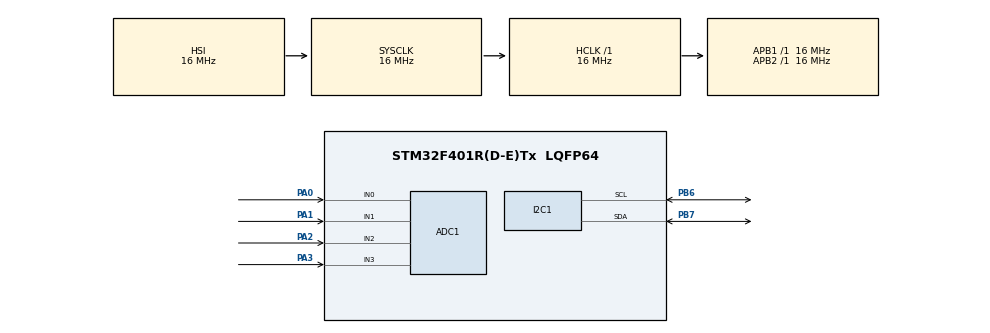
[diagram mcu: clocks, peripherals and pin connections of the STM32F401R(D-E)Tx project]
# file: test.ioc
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ADC1.Channel-0\#ChannelRegularConversion=ADC_CHANNEL_0
ADC1.ContinuousConvMode=ENABLE
ADC1.NbrOfConversionFlag=1
ADC1.Rank-0\#ChannelRegularConversion=1
ADC1.SamplingTime-0\#ChannelRegularConversion=ADC_SAMPLETIME_144CYCLES
ADC1.master=1
I2C1.I2C_Mode=I2C_Fast
Mcu.Family=STM32F4
Mcu.Name=STM32F401R(D-E)Tx
Mcu.Package=LQFP64
NVIC.ADC_IRQn=true\:0\:0\:false\:false\:true\:true\:true\:true
NVIC.I2C1_ER_IRQn=true\:0\:0\:false\:false\:true\:true\:true\:true
NVIC.I2C1_EV_IRQn=true\:0\:0\:false\:false\:true\:true\:true\:true
NVIC.PriorityGroup=NVIC_PRIORITYGROUP_4
PA0-WKUP.Signal=ADCx_IN0
PA1.Signal=ADCx_IN1
PA2.Signal=ADCx_IN2
PA3.Signal=ADCx_IN3
PB6.Mode=I2C
PB6.Signal=I2C1_SCL
PB7.Mode=I2C
PB7.Signal=I2C1_SDA
ProjectManager.HeapSize=0x200
ProjectManager.StackSize=0x400
ProjectManager.TargetToolchain=STM32CubeIDE
RCC.AHBFreq_Value=16000000
RCC.APB1Freq_Value=16000000
RCC.APB2Freq_Value=16000000
RCC.CortexFreq_Value=16000000
RCC.HSE_VALUE=25000000
RCC.HSI_VALUE=16000000
RCC.LSE_VALUE=32768
RCC.SYSCLKFreq_VALUE=16000000
RCC.VCOOutputFreq_Value=192000000
SH.ADCx_IN0.0=ADC1_IN0,IN0
SH.ADCx_IN1.0=ADC1_IN1,IN1
SH.ADCx_IN2.0=ADC1_IN2,IN2
SH.ADCx_IN3.0=ADC1_IN3,IN3
board=custom

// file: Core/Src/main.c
/* USER CODE BEGIN Header */
/**
  ******************************************************************************
  * @file           : main.c
  * @brief          : Main program body
  ******************************************************************************
  * @attention
  *
  * Copyright (c) 2024 STMicroelectronics.
  * All rights reserved.
  *
  * This software is licensed under terms that can be found in the LICENSE file
  * in the root directory of this software component.
  * If no LICENSE file comes with this software, it is provided AS-IS.
  *
  ******************************************************************************
  */
/* USER CODE END Header */
#include "main.h"

/* USER CODE BEGIN PD */
#define MPU6050_ADDR 0x68

#define IMU_SENSOR1_ADDR 0x68  // 예: MPU6050
#define IMU_SENSOR2_ADDR 0x69
#define IMU_SENSOR3_ADDR 0x6A
#define NUM_SENSORS 4
uint32_t pressure_values[NUM_SENSORS] = {0};
/* USER CODE END PD */

/* USER CODE BEGIN PM */
unsigned char IMUarray[32] = {0};
int cnt0 = 0, cnt1 = 0, cnt2 = 0, cnt3 = 0, cnt4 = 0;
char alpha[8] = {0};
char beta[8] = {0};
char gamm[8] = {0};
double roll_tp, pitch_tp, yaw_tp;
double roll, pitch, yaw;
char *pos;
int16_t accel[3] = {0};
int16_t gyro[3] = {0};
int32_t pressure = 0;
/* USER CODE END PM */

ADC_HandleTypeDef hadc1;

I2C_HandleTypeDef hi2c1;

/* USER CODE BEGIN PV */
//void MPU6050_Init(uint8_t sensor_addr);
void Read_IMU_Date(uint8_t sensor_addr, int16_t *accel_data, int16_t *gyro_data);
void Read_Pressure_Sensors(uint32_t *values, uint8_t num_sensors);
void parse_IMU_data(void);

//void get_pitch(void);
//void Read_IMU_RPY(void);
/* USER CODE END PV */

void SystemClock_Config(void);
static void MX_GPIO_Init(void);
static void MX_I2C1_Init(void);
static void MX_ADC1_Init(void);

int main(void)
{

  /* MCU Configuration--------------------------------------------------------*/

  /* Reset of all peripherals, Initializes the Flash interface and the Systick. */
  HAL_Init();

  /* Configure the system clock */
  SystemClock_Config();

  /* Initialize all configured peripherals */
  MX_GPIO_Init();
  MX_I2C1_Init();
  MX_ADC1_Init();
  /* USER CODE BEGIN 2 */
  // 센서 초기화 단계
  /*MPU6050_Init(); //초기화
  BMP280_Init(); //초기화
  */
  MPU6050_Init(IMU_SENSOR1_ADDR);
  MPU6050_Init(IMU_SENSOR2_ADDR);
  MPU6050_Init(IMU_SENSOR3_ADDR);

  /* USER CODE END 2 */

  /* Infinite loop */
  /* USER CODE BEGIN WHILE */

  while (1)
  {
	  // IMU 데이터 읽기
	  Read_IMU_Data(IMU_SENSOR1_ADDR, accel, gyro);
	  parse_IMU_data();

	  // 압력센서 데이터 읽기
	  Read_Pressure_Sensors(pressure_values, NUM_SENSORS);

	  HAL_Delay(500);
    /* USER CODE END WHILE */

  }
}

void SystemClock_Config(void)
{
  RCC_OscInitTypeDef RCC_OscInitStruct = {0};
  RCC_ClkInitTypeDef RCC_ClkInitStruct = {0};

  /** Configure the main internal regulator output voltage
  */
  __HAL_RCC_PWR_CLK_ENABLE();
  __HAL_PWR_VOLTAGESCALING_CONFIG(PWR_REGULATOR_VOLTAGE_SCALE2);

  /** Initializes the RCC Oscillators according to the specified parameters
  * in the RCC_OscInitTypeDef structure.
  */
  RCC_OscInitStruct.OscillatorType = RCC_OSCILLATORTYPE_HSI;
  RCC_OscInitStruct.HSIState = RCC_HSI_ON;
  RCC_OscInitStruct.HSICalibrationValue = RCC_HSICALIBRATION_DEFAULT;
  RCC_OscInitStruct.PLL.PLLState = RCC_PLL_NONE;
  if (HAL_RCC_OscConfig(&RCC_OscInitStruct) != HAL_OK)
  {
    Error_Handler();
  }

  /** Initializes the CPU, AHB and APB buses clocks
  */
  RCC_ClkInitStruct.ClockType = RCC_CLOCKTYPE_HCLK|RCC_CLOCKTYPE_SYSCLK
                              |RCC_CLOCKTYPE_PCLK1|RCC_CLOCKTYPE_PCLK2;
  RCC_ClkInitStruct.SYSCLKSource = RCC_SYSCLKSOURCE_HSI;
  RCC_ClkInitStruct.AHBCLKDivider = RCC_SYSCLK_DIV1;
  RCC_ClkInitStruct.APB1CLKDivider = RCC_HCLK_DIV1;
  RCC_ClkInitStruct.APB2CLKDivider = RCC_HCLK_DIV1;

  if (HAL_RCC_ClockConfig(&RCC_ClkInitStruct, FLASH_LATENCY_0) != HAL_OK)
  {
    Error_Handler();
  }
}

static void MX_ADC1_Init(void)
{

  ADC_ChannelConfTypeDef sConfig = {0};

  /** Configure the global features of the ADC (Clock, Resolution, Data Alignment and number of conversion)
  */
  hadc1.Instance = ADC1;
  hadc1.Init.ClockPrescaler = ADC_CLOCK_SYNC_PCLK_DIV2;
  hadc1.Init.Resolution = ADC_RESOLUTION_12B;
  hadc1.Init.ScanConvMode = DISABLE;
  hadc1.Init.ContinuousConvMode = ENABLE;
  hadc1.Init.DiscontinuousConvMode = DISABLE;
  hadc1.Init.ExternalTrigConvEdge = ADC_EXTERNALTRIGCONVEDGE_NONE;
  hadc1.Init.ExternalTrigConv = ADC_SOFTWARE_START;
  hadc1.Init.DataAlign = ADC_DATAALIGN_RIGHT;
  hadc1.Init.NbrOfConversion = 1;
  hadc1.Init.DMAContinuousRequests = DISABLE;
  hadc1.Init.EOCSelection = ADC_EOC_SINGLE_CONV;
  if (HAL_ADC_Init(&hadc1) != HAL_OK)
  {
    Error_Handler();
  }

  /** Configure for the selected ADC regular channel its corresponding rank in the sequencer and its sample time.
  */
  sConfig.Channel = ADC_CHANNEL_0;
  sConfig.Rank = 1;
  sConfig.SamplingTime = ADC_SAMPLETIME_144CYCLES;
  if (HAL_ADC_ConfigChannel(&hadc1, &sConfig) != HAL_OK)
  {
    Error_Handler();
  }
  /* USER CODE BEGIN ADC1_Init 2 */
  for (int i = 0; i < NUM_SENSORS; i++) {
      sConfig.Channel = ADC_CHANNEL_0 + i; // FSR 센서가 연결된 채널
      sConfig.Rank = i + 1; // 각 채널의 순위 설정
      sConfig.SamplingTime = ADC_SAMPLETIME_15CYCLES; // 샘플링 시간 설정
      HAL_ADC_ConfigChannel(&hadc1, &sConfig); // 채널 설정
  }
  /* USER CODE END ADC1_Init 2 */

}

static void MX_I2C1_Init(void)
{

  hi2c1.Instance = I2C1;
  hi2c1.Init.ClockSpeed = 400000;
  hi2c1.Init.DutyCycle = I2C_DUTYCYCLE_2;
  hi2c1.Init.OwnAddress1 = 0;
  hi2c1.Init.AddressingMode = I2C_ADDRESSINGMODE_7BIT;
  hi2c1.Init.DualAddressMode = I2C_DUALADDRESS_DISABLE;
  hi2c1.Init.OwnAddress2 = 0;
  hi2c1.Init.GeneralCallMode = I2C_GENERALCALL_DISABLE;
  hi2c1.Init.NoStretchMode = I2C_NOSTRETCH_DISABLE;
  if (HAL_I2C_Init(&hi2c1) != HAL_OK)
  {
    Error_Handler();
  }

}

static void MX_GPIO_Init(void)
{

  /* GPIO Ports Clock Enable */
  __HAL_RCC_GPIOA_CLK_ENABLE();
  __HAL_RCC_GPIOB_CLK_ENABLE();

}

/* USER CODE BEGIN 4 */
/*void MPU6050_Init(uint8_t sensor_addr){
	uint8_t check, Data;

	HAL_I2C_Mem_Read(&hi2c1, MPU6050_ADDR << 1, 0x75, 1, &check, 1, 1000);
	if(check == 104){
		Data = 0;
		HAL_I2C_Mem_Write(&hi2c1, MPU6050_ADDR << 1, 0x6B, 1, &Data, 1, 1000);
	}
}

*/
void Read_IMU_Data(uint8_t sensor_addr, int16_t *accel_data, int16_t *gyro_data) {
    uint8_t data[14];
    // 가속도와 자이로 데이터 읽기 (MPU6050에서 가속도 레지스터 주소는 0x3B부터 시작)
    HAL_I2C_Mem_Read(&hi2c1, sensor_addr << 1, 0x3B, 1, data, 14, 1000);

    // 가속도 데이터 처리
    accel_data[0] = (int16_t)(data[0] << 8 | data[1]);  // X축
    accel_data[1] = (int16_t)(data[2] << 8 | data[3]);  // Y축
    accel_data[2] = (int16_t)(data[4] << 8 | data[5]);  // Z축

    // 자이로 데이터 처리
    gyro_data[0] = (int16_t)(data[8] << 8 | data[9]);   // X축
    gyro_data[1] = (int16_t)(data[10] << 8 | data[11]); // Y축
    gyro_data[2] = (int16_t)(data[12] << 8 | data[13]); // Z축

    // IMU 데이터 가공하여 IMUarray에 저장 (예제)
    snprintf((char*)IMUarray, sizeof(IMUarray), "%d,%d,%d\r", accel[0], accel[1], accel[2]);
}

void Read_Pressure_Sensors(uint32_t *values, uint8_t num_sensors) {
	HAL_ADC_Start(&hadc1);

	    // 모든 채널의 변환 요청
	    for (uint8_t i = 0; i < num_sensors; i++) {
	        HAL_ADC_ConfigChannel(&hadc1, &(ADC_ChannelConfTypeDef){
	            .Channel = ADC_CHANNEL_0 + i, // FSR 센서가 연결된 채널
	            .Rank = 1,
	            .SamplingTime = ADC_SAMPLETIME_15CYCLES
	        });
	    }

	    // ADC 변환 완료 대기
	    HAL_ADC_PollForConversion(&hadc1, HAL_MAX_DELAY);

	    // 압력 값 읽기
	    for (uint8_t i = 0; i < num_sensors; i++) {
	        values[i] = HAL_ADC_GetValue(&hadc1);
	        HAL_Delay(10);  // 센서 간 대기 시간 (필요에 따라 조정)
	    }

	    // ADC 종료
	    HAL_ADC_Stop(&hadc1);
}

void parse_IMU_data(void) {
    int cnt0 = 0, cnt1 = 0, cnt2 = 0, cnt3 = 0;

    // IMUarray 배열에서 ','를 기준으로 문자열 파싱
    for(int i = 0; i < 31; i++) {
        if(IMUarray[i] == ',') {
            if(cnt0 == 0){
                cnt1 = i + 1;
            } else if (cnt0 == 1){
                cnt2 = i + 1;
            }
            cnt0++;
        } else {
            switch (cnt0) {
                case 0: alpha[i] = IMUarray[i]; break;
                case 1: beta[i - cnt1] = IMUarray[i]; break;
                case 2: gamm[i - cnt2] = IMUarray[i]; break;
            }
        }
        if(IMUarray[i] == '\r'){
            cnt3 = i + 1;
            break;
        }
    }

    // 문자열이 부족한 경우 나머지 0으로 채우기
    for (int j = cnt1 - 1; j < 8; j++) alpha[j] = '0';
    for (int k = cnt2 - cnt1; k < 8; k++) beta[k] = '0';
    for (int l = cnt3 - cnt2; l < 8; l++) gamm[l] = '0';

    // 문자열을 실수로 변환
    roll = strtod(alpha, &pos);
    pitch = strtod(beta, &pos);
    yaw = strtod(gamm, &pos);
}

/* USER CODE END 4 */

void Error_Handler(void)
{
  __disable_irq();
  while (1)
  {
  }
}
